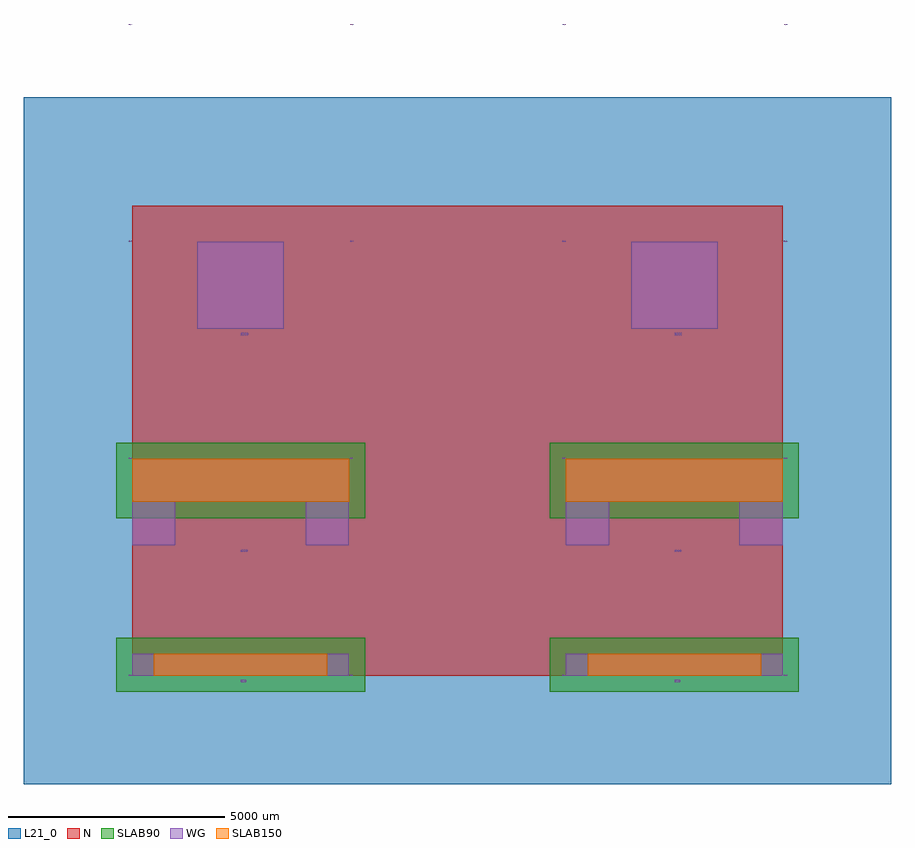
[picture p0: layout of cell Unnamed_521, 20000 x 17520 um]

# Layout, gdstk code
import gdstk
lib = gdstk.Library(unit=1e-6, precision=1e-09)
def R(c, l, rs):  # rectangles x0, y0, x1, y1
    for r in rs: c.add(gdstk.rectangle(r[:2], r[2:], *l))
def A(c, l, x, y, w, h, nx, ny, dx, dy):  # array of equal rectangles
    R(c, l, [(x+i*dx, y+j*dy, x+i*dx+w, y+j*dy+h) for i in range(nx) for j in range(ny)])
def P(c, l, *ps):  # polygons
    for p in ps: c.add(gdstk.Polygon(p, *l))
WG = (1, 0)
SLAB150 = (2, 0)
SLAB90 = (3, 0)
N = (20, 0)
L21_0 = (21, 0)

unnamed_551 = lib.new_cell('Unnamed_551')
P(unnamed_551, WG, [(2505,2852),(2505,2862),(2510,2862),(2510,2882),(2505,2882),(2505,2892),(2515,2902),(2520,2902),(2520,2862),(2525,2862),(2525,2852)],
  [(2505,2852),(2505,2862),(2510,2862),(2510,2882),(2505,2882),(2505,2892),(2515,2902),(2520,2902),(2520,2862),(2525,2862),(2525,2852)],
  [(12505,2852),(12505,2862),(12510,2862),(12510,2882),(12505,2882),(12505,2892),(12515,2902),(12520,2902),(12520,2862),(12525,2862),(12525,2852)],
  [(12505,2852),(12505,2862),(12510,2862),(12510,2882),(12505,2882),(12505,2892),(12515,2902),(12520,2902),(12520,2862),(12525,2862),(12525,2852)],
  [(2505,7850),(2505,7860),(2530,7885),(2530,7890),(2515,7890),(2515,7885),(2505,7885),(2505,7895),(2510,7900),(2535,7900),(2540,7895),(2540,7880),(2520,7860),(2540,7860),(2540,7850)],
  [(12505,7850),(12505,7860),(12530,7885),(12530,7890),(12515,7890),(12515,7885),(12505,7885),(12505,7895),(12510,7900),(12535,7900),(12540,7895),(12540,7880),(12520,7860),(12540,7860),(12540,7850)],
  [(2563.5,-150),(2566,-140),(2570,-140),(2575,-135),(2575,-115),(2570,-110),(2572.5,-100),(2575,-100),(2585,-110),(2585,-140),(2575,-150)],
  [(2608.5,-150),(2611,-140),(2615,-140),(2620,-135),(2620,-115),(2615,-110),(2617.5,-100),(2620,-100),(2630,-110),(2630,-140),(2620,-150)],
  [(2563.5,-150),(2566,-140),(2570,-140),(2575,-135),(2575,-115),(2570,-110),(2572.5,-100),(2575,-100),(2585,-110),(2585,-140),(2575,-150)],
  [(2608.5,-150),(2611,-140),(2615,-140),(2620,-135),(2620,-115),(2615,-110),(2617.5,-100),(2620,-100),(2630,-110),(2630,-140),(2620,-150)],
  [(12563.5,-150),(12566,-140),(12570,-140),(12575,-135),(12575,-115),(12570,-110),(12572.5,-100),(12575,-100),(12585,-110),(12585,-140),(12575,-150)],
  [(12608.5,-150),(12611,-140),(12615,-140),(12620,-135),(12620,-115),(12615,-110),(12617.5,-100),(12620,-100),(12630,-110),(12630,-140),(12620,-150)],
  [(12563.5,-150),(12566,-140),(12570,-140),(12575,-135),(12575,-115),(12570,-110),(12572.5,-100),(12575,-100),(12585,-110),(12585,-140),(12575,-150)],
  [(12608.5,-150),(12611,-140),(12615,-140),(12620,-135),(12620,-115),(12615,-110),(12617.5,-100),(12620,-100),(12630,-110),(12630,-140),(12620,-150)],
  [(2548.5,2852),(2551,2862),(2555,2862),(2560,2867),(2560,2887),(2555,2892),(2557.5,2902),(2560,2902),(2570,2892),(2570,2862),(2560,2852)],
  [(2593.5,2852),(2596,2862),(2600,2862),(2605,2867),(2605,2887),(2600,2892),(2602.5,2902),(2605,2902),(2615,2892),(2615,2862),(2605,2852)],
  [(2638.5,2852),(2641,2862),(2645,2862),(2650,2867),(2650,2887),(2645,2892),(2647.5,2902),(2650,2902),(2660,2892),(2660,2862),(2650,2852)],
  [(2548.5,2852),(2551,2862),(2555,2862),(2560,2867),(2560,2887),(2555,2892),(2557.5,2902),(2560,2902),(2570,2892),(2570,2862),(2560,2852)],
  [(2593.5,2852),(2596,2862),(2600,2862),(2605,2867),(2605,2887),(2600,2892),(2602.5,2902),(2605,2902),(2615,2892),(2615,2862),(2605,2852)],
  [(2638.5,2852),(2641,2862),(2645,2862),(2650,2867),(2650,2887),(2645,2892),(2647.5,2902),(2650,2902),(2660,2892),(2660,2862),(2650,2852)],
  [(12548.5,2852),(12551,2862),(12555,2862),(12560,2867),(12560,2887),(12555,2892),(12557.5,2902),(12560,2902),(12570,2892),(12570,2862),(12560,2852)],
  [(12593.5,2852),(12596,2862),(12600,2862),(12605,2867),(12605,2887),(12600,2892),(12602.5,2902),(12605,2902),(12615,2892),(12615,2862),(12605,2852)],
  [(12638.5,2852),(12641,2862),(12645,2862),(12650,2867),(12650,2887),(12645,2892),(12647.5,2902),(12650,2902),(12660,2892),(12660,2862),(12650,2852)],
  [(12548.5,2852),(12551,2862),(12555,2862),(12560,2867),(12560,2887),(12555,2892),(12557.5,2902),(12560,2902),(12570,2892),(12570,2862),(12560,2852)],
  [(12593.5,2852),(12596,2862),(12600,2862),(12605,2867),(12605,2887),(12600,2892),(12602.5,2902),(12605,2902),(12615,2892),(12615,2862),(12605,2852)],
  [(12638.5,2852),(12641,2862),(12645,2862),(12650,2867),(12650,2887),(12645,2892),(12647.5,2902),(12650,2902),(12660,2892),(12660,2862),(12650,2852)],
  [(2563.5,7850),(2566,7860),(2570,7860),(2575,7865),(2575,7885),(2570,7890),(2572.5,7900),(2575,7900),(2585,7890),(2585,7860),(2575,7850)],
  [(2608.5,7850),(2611,7860),(2615,7860),(2620,7865),(2620,7885),(2615,7890),(2617.5,7900),(2620,7900),(2630,7890),(2630,7860),(2620,7850)],
  [(2653.5,7850),(2656,7860),(2660,7860),(2665,7865),(2665,7885),(2660,7890),(2662.5,7900),(2665,7900),(2675,7890),(2675,7860),(2665,7850)],
  [(12563.5,7850),(12566,7860),(12570,7860),(12575,7865),(12575,7885),(12570,7890),(12572.5,7900),(12575,7900),(12585,7890),(12585,7860),(12575,7850)],
  [(12608.5,7850),(12611,7860),(12615,7860),(12620,7865),(12620,7885),(12615,7890),(12617.5,7900),(12620,7900),(12630,7890),(12630,7860),(12620,7850)],
  [(12653.5,7850),(12656,7860),(12660,7860),(12665,7865),(12665,7885),(12660,7890),(12662.5,7900),(12665,7900),(12675,7890),(12675,7860),(12665,7850)],
  [(2555,-150),(2545,-140),(2545,-110),(2555,-100),(2566.5,-100),(2564,-110),(2560,-110),(2555,-115),(2555,-135),(2560,-140),(2557.5,-150)],
  [(2600,-150),(2590,-140),(2590,-110),(2600,-100),(2611.5,-100),(2609,-110),(2605,-110),(2600,-115),(2600,-135),(2605,-140),(2602.5,-150)],
  [(2555,-150),(2545,-140),(2545,-110),(2555,-100),(2566.5,-100),(2564,-110),(2560,-110),(2555,-115),(2555,-135),(2560,-140),(2557.5,-150)],
  [(2600,-150),(2590,-140),(2590,-110),(2600,-100),(2611.5,-100),(2609,-110),(2605,-110),(2600,-115),(2600,-135),(2605,-140),(2602.5,-150)],
  [(12555,-150),(12545,-140),(12545,-110),(12555,-100),(12566.5,-100),(12564,-110),(12560,-110),(12555,-115),(12555,-135),(12560,-140),(12557.5,-150)],
  [(12600,-150),(12590,-140),(12590,-110),(12600,-100),(12611.5,-100),(12609,-110),(12605,-110),(12600,-115),(12600,-135),(12605,-140),(12602.5,-150)],
  [(12555,-150),(12545,-140),(12545,-110),(12555,-100),(12566.5,-100),(12564,-110),(12560,-110),(12555,-115),(12555,-135),(12560,-140),(12557.5,-150)],
  [(12600,-150),(12590,-140),(12590,-110),(12600,-100),(12611.5,-100),(12609,-110),(12605,-110),(12600,-115),(12600,-135),(12605,-140),(12602.5,-150)],
  [(2540,2852),(2530,2862),(2530,2892),(2540,2902),(2551.5,2902),(2549,2892),(2545,2892),(2540,2887),(2540,2867),(2545,2862),(2542.5,2852)],
  [(2585,2852),(2575,2862),(2575,2892),(2585,2902),(2596.5,2902),(2594,2892),(2590,2892),(2585,2887),(2585,2867),(2590,2862),(2587.5,2852)],
  [(2630,2852),(2620,2862),(2620,2892),(2630,2902),(2641.5,2902),(2639,2892),(2635,2892),(2630,2887),(2630,2867),(2635,2862),(2632.5,2852)],
  [(2540,2852),(2530,2862),(2530,2892),(2540,2902),(2551.5,2902),(2549,2892),(2545,2892),(2540,2887),(2540,2867),(2545,2862),(2542.5,2852)],
  [(2585,2852),(2575,2862),(2575,2892),(2585,2902),(2596.5,2902),(2594,2892),(2590,2892),(2585,2887),(2585,2867),(2590,2862),(2587.5,2852)],
  [(2630,2852),(2620,2862),(2620,2892),(2630,2902),(2641.5,2902),(2639,2892),(2635,2892),(2630,2887),(2630,2867),(2635,2862),(2632.5,2852)],
  [(12540,2852),(12530,2862),(12530,2892),(12540,2902),(12551.5,2902),(12549,2892),(12545,2892),(12540,2887),(12540,2867),(12545,2862),(12542.5,2852)],
  [(12585,2852),(12575,2862),(12575,2892),(12585,2902),(12596.5,2902),(12594,2892),(12590,2892),(12585,2887),(12585,2867),(12590,2862),(12587.5,2852)],
  [(12630,2852),(12620,2862),(12620,2892),(12630,2902),(12641.5,2902),(12639,2892),(12635,2892),(12630,2887),(12630,2867),(12635,2862),(12632.5,2852)],
  [(12540,2852),(12530,2862),(12530,2892),(12540,2902),(12551.5,2902),(12549,2892),(12545,2892),(12540,2887),(12540,2867),(12545,2862),(12542.5,2852)],
  [(12585,2852),(12575,2862),(12575,2892),(12585,2902),(12596.5,2902),(12594,2892),(12590,2892),(12585,2887),(12585,2867),(12590,2862),(12587.5,2852)],
  [(12630,2852),(12620,2862),(12620,2892),(12630,2902),(12641.5,2902),(12639,2892),(12635,2892),(12630,2887),(12630,2867),(12635,2862),(12632.5,2852)],
  [(2555,7850),(2545,7860),(2545,7890),(2555,7900),(2566.5,7900),(2564,7890),(2560,7890),(2555,7885),(2555,7865),(2560,7860),(2557.5,7850)],
  [(2600,7850),(2590,7860),(2590,7890),(2600,7900),(2611.5,7900),(2609,7890),(2605,7890),(2600,7885),(2600,7865),(2605,7860),(2602.5,7850)],
  [(2645,7850),(2635,7860),(2635,7890),(2645,7900),(2656.5,7900),(2654,7890),(2650,7890),(2645,7885),(2645,7865),(2650,7860),(2647.5,7850)],
  [(12555,7850),(12545,7860),(12545,7890),(12555,7900),(12566.5,7900),(12564,7890),(12560,7890),(12555,7885),(12555,7865),(12560,7860),(12557.5,7850)],
  [(12600,7850),(12590,7860),(12590,7890),(12600,7900),(12611.5,7900),(12609,7890),(12605,7890),(12600,7885),(12600,7865),(12605,7860),(12602.5,7850)],
  [(12645,7850),(12635,7860),(12635,7890),(12645,7900),(12656.5,7900),(12654,7890),(12650,7890),(12645,7885),(12645,7865),(12650,7860),(12647.5,7850)],
  [(2510,-150),(2505,-145),(2505,-135),(2515,-135),(2515,-140),(2530,-140),(2530,-130),(2510,-130),(2505,-125),(2505,-100),(2540,-100),(2540,-110),(2515,-110),(2515,-120),(2535,-120),(2540,-125),(2540,-145),(2535,-150)],
  [(2510,-150),(2505,-145),(2505,-135),(2515,-135),(2515,-140),(2530,-140),(2530,-130),(2510,-130),(2505,-125),(2505,-100),(2540,-100),(2540,-110),(2515,-110),(2515,-120),(2535,-120),(2540,-125),(2540,-145),(2535,-150)],
  [(12510,-150),(12505,-145),(12505,-135),(12515,-135),(12515,-140),(12530,-140),(12530,-130),(12510,-130),(12505,-125),(12505,-100),(12540,-100),(12540,-110),(12515,-110),(12515,-120),(12535,-120),(12540,-125),(12540,-145),(12535,-150)],
  [(12510,-150),(12505,-145),(12505,-135),(12515,-135),(12515,-140),(12530,-140),(12530,-130),(12510,-130),(12505,-125),(12505,-100),(12540,-100),(12540,-110),(12515,-110),(12515,-120),(12535,-120),(12540,-125),(12540,-145),(12535,-150)])

unnamed_549 = lib.new_cell('Unnamed_549')
R(unnamed_549, SLAB150, [(500,0,4498,498), (10500,0,14498,498), (0,4002,5000,5000), (10000,4002,15000,5000)])

unnamed_547 = lib.new_cell('Unnamed_547')
P(unnamed_547, WG, [(2505,2852),(2505,2862),(2510,2862),(2510,2882),(2505,2882),(2505,2892),(2515,2902),(2520,2902),(2520,2862),(2525,2862),(2525,2852)],
  [(2505,2852),(2505,2862),(2510,2862),(2510,2882),(2505,2882),(2505,2892),(2515,2902),(2520,2902),(2520,2862),(2525,2862),(2525,2852)],
  [(12505,2852),(12505,2862),(12510,2862),(12510,2882),(12505,2882),(12505,2892),(12515,2902),(12520,2902),(12520,2862),(12525,2862),(12525,2852)],
  [(12505,2852),(12505,2862),(12510,2862),(12510,2882),(12505,2882),(12505,2892),(12515,2902),(12520,2902),(12520,2862),(12525,2862),(12525,2852)],
  [(2505,7850),(2505,7860),(2530,7885),(2530,7890),(2515,7890),(2515,7885),(2505,7885),(2505,7895),(2510,7900),(2535,7900),(2540,7895),(2540,7880),(2520,7860),(2540,7860),(2540,7850)],
  [(12505,7850),(12505,7860),(12530,7885),(12530,7890),(12515,7890),(12515,7885),(12505,7885),(12505,7895),(12510,7900),(12535,7900),(12540,7895),(12540,7880),(12520,7860),(12540,7860),(12540,7850)],
  [(2563.5,-150),(2566,-140),(2570,-140),(2575,-135),(2575,-115),(2570,-110),(2572.5,-100),(2575,-100),(2585,-110),(2585,-140),(2575,-150)],
  [(2608.5,-150),(2611,-140),(2615,-140),(2620,-135),(2620,-115),(2615,-110),(2617.5,-100),(2620,-100),(2630,-110),(2630,-140),(2620,-150)],
  [(2563.5,-150),(2566,-140),(2570,-140),(2575,-135),(2575,-115),(2570,-110),(2572.5,-100),(2575,-100),(2585,-110),(2585,-140),(2575,-150)],
  [(2608.5,-150),(2611,-140),(2615,-140),(2620,-135),(2620,-115),(2615,-110),(2617.5,-100),(2620,-100),(2630,-110),(2630,-140),(2620,-150)],
  [(12563.5,-150),(12566,-140),(12570,-140),(12575,-135),(12575,-115),(12570,-110),(12572.5,-100),(12575,-100),(12585,-110),(12585,-140),(12575,-150)],
  [(12608.5,-150),(12611,-140),(12615,-140),(12620,-135),(12620,-115),(12615,-110),(12617.5,-100),(12620,-100),(12630,-110),(12630,-140),(12620,-150)],
  [(12563.5,-150),(12566,-140),(12570,-140),(12575,-135),(12575,-115),(12570,-110),(12572.5,-100),(12575,-100),(12585,-110),(12585,-140),(12575,-150)],
  [(12608.5,-150),(12611,-140),(12615,-140),(12620,-135),(12620,-115),(12615,-110),(12617.5,-100),(12620,-100),(12630,-110),(12630,-140),(12620,-150)],
  [(2548.5,2852),(2551,2862),(2555,2862),(2560,2867),(2560,2887),(2555,2892),(2557.5,2902),(2560,2902),(2570,2892),(2570,2862),(2560,2852)],
  [(2593.5,2852),(2596,2862),(2600,2862),(2605,2867),(2605,2887),(2600,2892),(2602.5,2902),(2605,2902),(2615,2892),(2615,2862),(2605,2852)],
  [(2638.5,2852),(2641,2862),(2645,2862),(2650,2867),(2650,2887),(2645,2892),(2647.5,2902),(2650,2902),(2660,2892),(2660,2862),(2650,2852)],
  [(2548.5,2852),(2551,2862),(2555,2862),(2560,2867),(2560,2887),(2555,2892),(2557.5,2902),(2560,2902),(2570,2892),(2570,2862),(2560,2852)],
  [(2593.5,2852),(2596,2862),(2600,2862),(2605,2867),(2605,2887),(2600,2892),(2602.5,2902),(2605,2902),(2615,2892),(2615,2862),(2605,2852)],
  [(2638.5,2852),(2641,2862),(2645,2862),(2650,2867),(2650,2887),(2645,2892),(2647.5,2902),(2650,2902),(2660,2892),(2660,2862),(2650,2852)],
  [(12548.5,2852),(12551,2862),(12555,2862),(12560,2867),(12560,2887),(12555,2892),(12557.5,2902),(12560,2902),(12570,2892),(12570,2862),(12560,2852)],
  [(12593.5,2852),(12596,2862),(12600,2862),(12605,2867),(12605,2887),(12600,2892),(12602.5,2902),(12605,2902),(12615,2892),(12615,2862),(12605,2852)],
  [(12638.5,2852),(12641,2862),(12645,2862),(12650,2867),(12650,2887),(12645,2892),(12647.5,2902),(12650,2902),(12660,2892),(12660,2862),(12650,2852)],
  [(12548.5,2852),(12551,2862),(12555,2862),(12560,2867),(12560,2887),(12555,2892),(12557.5,2902),(12560,2902),(12570,2892),(12570,2862),(12560,2852)],
  [(12593.5,2852),(12596,2862),(12600,2862),(12605,2867),(12605,2887),(12600,2892),(12602.5,2902),(12605,2902),(12615,2892),(12615,2862),(12605,2852)],
  [(12638.5,2852),(12641,2862),(12645,2862),(12650,2867),(12650,2887),(12645,2892),(12647.5,2902),(12650,2902),(12660,2892),(12660,2862),(12650,2852)],
  [(2563.5,7850),(2566,7860),(2570,7860),(2575,7865),(2575,7885),(2570,7890),(2572.5,7900),(2575,7900),(2585,7890),(2585,7860),(2575,7850)],
  [(2608.5,7850),(2611,7860),(2615,7860),(2620,7865),(2620,7885),(2615,7890),(2617.5,7900),(2620,7900),(2630,7890),(2630,7860),(2620,7850)],
  [(2653.5,7850),(2656,7860),(2660,7860),(2665,7865),(2665,7885),(2660,7890),(2662.5,7900),(2665,7900),(2675,7890),(2675,7860),(2665,7850)],
  [(12563.5,7850),(12566,7860),(12570,7860),(12575,7865),(12575,7885),(12570,7890),(12572.5,7900),(12575,7900),(12585,7890),(12585,7860),(12575,7850)],
  [(12608.5,7850),(12611,7860),(12615,7860),(12620,7865),(12620,7885),(12615,7890),(12617.5,7900),(12620,7900),(12630,7890),(12630,7860),(12620,7850)],
  [(12653.5,7850),(12656,7860),(12660,7860),(12665,7865),(12665,7885),(12660,7890),(12662.5,7900),(12665,7900),(12675,7890),(12675,7860),(12665,7850)],
  [(2555,-150),(2545,-140),(2545,-110),(2555,-100),(2566.5,-100),(2564,-110),(2560,-110),(2555,-115),(2555,-135),(2560,-140),(2557.5,-150)],
  [(2600,-150),(2590,-140),(2590,-110),(2600,-100),(2611.5,-100),(2609,-110),(2605,-110),(2600,-115),(2600,-135),(2605,-140),(2602.5,-150)],
  [(2555,-150),(2545,-140),(2545,-110),(2555,-100),(2566.5,-100),(2564,-110),(2560,-110),(2555,-115),(2555,-135),(2560,-140),(2557.5,-150)],
  [(2600,-150),(2590,-140),(2590,-110),(2600,-100),(2611.5,-100),(2609,-110),(2605,-110),(2600,-115),(2600,-135),(2605,-140),(2602.5,-150)],
  [(12555,-150),(12545,-140),(12545,-110),(12555,-100),(12566.5,-100),(12564,-110),(12560,-110),(12555,-115),(12555,-135),(12560,-140),(12557.5,-150)],
  [(12600,-150),(12590,-140),(12590,-110),(12600,-100),(12611.5,-100),(12609,-110),(12605,-110),(12600,-115),(12600,-135),(12605,-140),(12602.5,-150)],
  [(12555,-150),(12545,-140),(12545,-110),(12555,-100),(12566.5,-100),(12564,-110),(12560,-110),(12555,-115),(12555,-135),(12560,-140),(12557.5,-150)],
  [(12600,-150),(12590,-140),(12590,-110),(12600,-100),(12611.5,-100),(12609,-110),(12605,-110),(12600,-115),(12600,-135),(12605,-140),(12602.5,-150)],
  [(2540,2852),(2530,2862),(2530,2892),(2540,2902),(2551.5,2902),(2549,2892),(2545,2892),(2540,2887),(2540,2867),(2545,2862),(2542.5,2852)],
  [(2585,2852),(2575,2862),(2575,2892),(2585,2902),(2596.5,2902),(2594,2892),(2590,2892),(2585,2887),(2585,2867),(2590,2862),(2587.5,2852)],
  [(2630,2852),(2620,2862),(2620,2892),(2630,2902),(2641.5,2902),(2639,2892),(2635,2892),(2630,2887),(2630,2867),(2635,2862),(2632.5,2852)],
  [(2540,2852),(2530,2862),(2530,2892),(2540,2902),(2551.5,2902),(2549,2892),(2545,2892),(2540,2887),(2540,2867),(2545,2862),(2542.5,2852)],
  [(2585,2852),(2575,2862),(2575,2892),(2585,2902),(2596.5,2902),(2594,2892),(2590,2892),(2585,2887),(2585,2867),(2590,2862),(2587.5,2852)],
  [(2630,2852),(2620,2862),(2620,2892),(2630,2902),(2641.5,2902),(2639,2892),(2635,2892),(2630,2887),(2630,2867),(2635,2862),(2632.5,2852)],
  [(12540,2852),(12530,2862),(12530,2892),(12540,2902),(12551.5,2902),(12549,2892),(12545,2892),(12540,2887),(12540,2867),(12545,2862),(12542.5,2852)],
  [(12585,2852),(12575,2862),(12575,2892),(12585,2902),(12596.5,2902),(12594,2892),(12590,2892),(12585,2887),(12585,2867),(12590,2862),(12587.5,2852)],
  [(12630,2852),(12620,2862),(12620,2892),(12630,2902),(12641.5,2902),(12639,2892),(12635,2892),(12630,2887),(12630,2867),(12635,2862),(12632.5,2852)],
  [(12540,2852),(12530,2862),(12530,2892),(12540,2902),(12551.5,2902),(12549,2892),(12545,2892),(12540,2887),(12540,2867),(12545,2862),(12542.5,2852)],
  [(12585,2852),(12575,2862),(12575,2892),(12585,2902),(12596.5,2902),(12594,2892),(12590,2892),(12585,2887),(12585,2867),(12590,2862),(12587.5,2852)],
  [(12630,2852),(12620,2862),(12620,2892),(12630,2902),(12641.5,2902),(12639,2892),(12635,2892),(12630,2887),(12630,2867),(12635,2862),(12632.5,2852)],
  [(2555,7850),(2545,7860),(2545,7890),(2555,7900),(2566.5,7900),(2564,7890),(2560,7890),(2555,7885),(2555,7865),(2560,7860),(2557.5,7850)],
  [(2600,7850),(2590,7860),(2590,7890),(2600,7900),(2611.5,7900),(2609,7890),(2605,7890),(2600,7885),(2600,7865),(2605,7860),(2602.5,7850)],
  [(2645,7850),(2635,7860),(2635,7890),(2645,7900),(2656.5,7900),(2654,7890),(2650,7890),(2645,7885),(2645,7865),(2650,7860),(2647.5,7850)],
  [(12555,7850),(12545,7860),(12545,7890),(12555,7900),(12566.5,7900),(12564,7890),(12560,7890),(12555,7885),(12555,7865),(12560,7860),(12557.5,7850)],
  [(12600,7850),(12590,7860),(12590,7890),(12600,7900),(12611.5,7900),(12609,7890),(12605,7890),(12600,7885),(12600,7865),(12605,7860),(12602.5,7850)],
  [(12645,7850),(12635,7860),(12635,7890),(12645,7900),(12656.5,7900),(12654,7890),(12650,7890),(12645,7885),(12645,7865),(12650,7860),(12647.5,7850)],
  [(2510,-150),(2505,-145),(2505,-135),(2515,-135),(2515,-140),(2530,-140),(2530,-130),(2510,-130),(2505,-125),(2505,-100),(2540,-100),(2540,-110),(2515,-110),(2515,-120),(2535,-120),(2540,-125),(2540,-145),(2535,-150)],
  [(2510,-150),(2505,-145),(2505,-135),(2515,-135),(2515,-140),(2530,-140),(2530,-130),(2510,-130),(2505,-125),(2505,-100),(2540,-100),(2540,-110),(2515,-110),(2515,-120),(2535,-120),(2540,-125),(2540,-145),(2535,-150)],
  [(12510,-150),(12505,-145),(12505,-135),(12515,-135),(12515,-140),(12530,-140),(12530,-130),(12510,-130),(12505,-125),(12505,-100),(12540,-100),(12540,-110),(12515,-110),(12515,-120),(12535,-120),(12540,-125),(12540,-145),(12535,-150)],
  [(12510,-150),(12505,-145),(12505,-135),(12515,-135),(12515,-140),(12530,-140),(12530,-130),(12510,-130),(12505,-125),(12505,-100),(12540,-100),(12540,-110),(12515,-110),(12515,-120),(12535,-120),(12540,-125),(12540,-145),(12535,-150)])

rectangle_s5743p44_1741_ = lib.new_cell('rectangle_S5743p44_1741_03ee2668')
R(rectangle_s5743p44_1741_, SLAB90, [(0,0,5743.44,1741.44)])

rectangle_s5743p44_1241_ = lib.new_cell('rectangle_S5743p44_1241_c6762c0d')
R(rectangle_s5743p44_1241_, SLAB90, [(0,0,5743.44,1241.44)])

unnamed_544 = lib.new_cell('Unnamed_544')
unnamed_544.add(gdstk.Reference(rectangle_s5743p44_1741_, (0,4002)))
unnamed_544.add(gdstk.Reference(rectangle_s5743p44_1241_, (0,0)))

unnamed_543 = lib.new_cell('Unnamed_543')
unnamed_543.add(gdstk.Reference(rectangle_s5743p44_1741_, (0,4002)))
unnamed_543.add(gdstk.Reference(rectangle_s5743p44_1241_, (0,0)))

unnamed_542 = lib.new_cell('Unnamed_542')
unnamed_542.add(gdstk.Reference(unnamed_544, (9628.28,-371.72)))
unnamed_542.add(gdstk.Reference(unnamed_543, (-371.72,-371.72)))

rectangle_s20000_15830__ = lib.new_cell('rectangle_S20000_15830__41eada1f')
R(rectangle_s20000_15830__, L21_0, [(0,0,20000,15830)])

unnamed_539 = lib.new_cell('Unnamed_539')
A(unnamed_539, WG, 0, 0, 48, 48, 10, 10, 50, 50)
A(unnamed_539, WG, 4500, 0, 48, 48, 10, 10, 50, 50)
A(unnamed_539, WG, 10000, 0, 48, 48, 10, 10, 50, 50)
A(unnamed_539, WG, 14500, 0, 48, 48, 10, 10, 50, 50)
A(unnamed_539, WG, 0, 3002, 48, 48, 20, 20, 50, 50)
A(unnamed_539, WG, 4000, 3002, 48, 48, 20, 20, 50, 50)
A(unnamed_539, WG, 10000, 3002, 48, 48, 20, 20, 50, 50)
A(unnamed_539, WG, 14000, 3002, 48, 48, 20, 20, 50, 50)
A(unnamed_539, WG, 1500, 8000, 48, 48, 40, 40, 50, 50)
A(unnamed_539, WG, 11500, 8000, 48, 48, 40, 40, 50, 50)

unnamed_545 = lib.new_cell('Unnamed_545')
R(unnamed_545, SLAB150, [(500,0,4498,498), (10500,0,14498,498), (0,4002,5000,5000), (10000,4002,15000,5000)])

unnamed_546 = lib.new_cell('Unnamed_546')
A(unnamed_546, WG, 0, 0, 48, 48, 10, 10, 50, 50)
A(unnamed_546, WG, 4500, 0, 48, 48, 10, 10, 50, 50)
A(unnamed_546, WG, 10000, 0, 48, 48, 10, 10, 50, 50)
A(unnamed_546, WG, 14500, 0, 48, 48, 10, 10, 50, 50)
A(unnamed_546, WG, 0, 3002, 48, 48, 20, 20, 50, 50)
A(unnamed_546, WG, 4000, 3002, 48, 48, 20, 20, 50, 50)
A(unnamed_546, WG, 10000, 3002, 48, 48, 20, 20, 50, 50)
A(unnamed_546, WG, 14000, 3002, 48, 48, 20, 20, 50, 50)
A(unnamed_546, WG, 1500, 8000, 48, 48, 40, 40, 50, 50)
A(unnamed_546, WG, 11500, 8000, 48, 48, 40, 40, 50, 50)

text_tdml_4_s20_p0_0_jle = lib.new_cell('text_TDML_4_S20_P0_0_Jleft_L1_0')
P(text_tdml_4_s20_p0_0_jle, WG, [(36,0),(36,20),(40,20),(40,4),(50,4),(50,0)],
  [(70,0),(70,6),(62,6),(62,20),(66,20),(66,10),(70,10),(70,20),(74,20),(74,10),(76,10),(76,6),(74,6),(74,0)],
  [(18,0),(18,20),(22,20),(26,14),(30,20),(34,20),(34,0),(30,0),(30,12),(26,6),(22,12),(22,0)],
  [(2,0),(2,8),(6,8),(6,4),(10,4),(12,6),(12,14),(10,16),(6,16),(6,12),(2,12),(2,20),(12,20),(16,16),(16,4),(12,0)])

unnamed_536 = lib.new_cell('Unnamed_536')
unnamed_536.add(gdstk.Reference(text_tdml_4_s20_p0_0_jle, (-85,0)))
unnamed_536.add(gdstk.Reference(text_tdml_4_s20_p0_0_jle, (5020,0)))
unnamed_536.add(gdstk.Reference(text_tdml_4_s20_p0_0_jle, (-85,5000)))
unnamed_536.add(gdstk.Reference(text_tdml_4_s20_p0_0_jle, (5020,5000)))

text_tdml_3_s20_p0_0_jle = lib.new_cell('text_TDML_3_S20_P0_0_Jleft_L1_0')
P(text_tdml_3_s20_p0_0_jle, WG, [(36,0),(36,20),(40,20),(40,4),(50,4),(50,0)],
  [(66,0),(62,4),(62,6),(66,6),(68,4),(70,4),(72,6),(70,8),(70,12),(72,14),(70,16),(68,16),(66,14),(62,14),(62,16),(66,20),(72,20),(76,16),(76,12),(74,10),(76,8),(76,4),(72,0)],
  [(18,0),(18,20),(22,20),(26,14),(30,20),(34,20),(34,0),(30,0),(30,12),(26,6),(22,12),(22,0)],
  [(2,0),(2,8),(6,8),(6,4),(10,4),(12,6),(12,14),(10,16),(6,16),(6,12),(2,12),(2,20),(12,20),(16,16),(16,4),(12,0)])

unnamed_535 = lib.new_cell('Unnamed_535')
unnamed_535.add(gdstk.Reference(text_tdml_3_s20_p0_0_jle, (-85,0)))
unnamed_535.add(gdstk.Reference(text_tdml_3_s20_p0_0_jle, (5020,0)))
unnamed_535.add(gdstk.Reference(text_tdml_3_s20_p0_0_jle, (-85,5000)))
unnamed_535.add(gdstk.Reference(text_tdml_3_s20_p0_0_jle, (5020,5000)))

text_tdml_2_s20_p0_0_jle = lib.new_cell('text_TDML_2_S20_P0_0_Jleft_L1_0')
P(text_tdml_2_s20_p0_0_jle, WG, [(36,0),(36,20),(40,20),(40,4),(50,4),(50,0)],
  [(18,0),(18,20),(22,20),(26,14),(30,20),(34,20),(34,0),(30,0),(30,12),(26,6),(22,12),(22,0)],
  [(62,0),(62,4),(72,14),(72,16),(66,16),(66,14),(62,14),(62,18),(64,20),(74,20),(76,18),(76,12),(68,4),(76,4),(76,0)],
  [(2,0),(2,8),(6,8),(6,4),(10,4),(12,6),(12,14),(10,16),(6,16),(6,12),(2,12),(2,20),(12,20),(16,16),(16,4),(12,0)])

unnamed_534 = lib.new_cell('Unnamed_534')
unnamed_534.add(gdstk.Reference(text_tdml_2_s20_p0_0_jle, (-85,0)))
unnamed_534.add(gdstk.Reference(text_tdml_2_s20_p0_0_jle, (5020,0)))
unnamed_534.add(gdstk.Reference(text_tdml_2_s20_p0_0_jle, (-85,5000)))
unnamed_534.add(gdstk.Reference(text_tdml_2_s20_p0_0_jle, (5020,5000)))

text_tdml_1_s20_p0_0_jle = lib.new_cell('text_TDML_1_S20_P0_0_Jleft_L1_0')
P(text_tdml_1_s20_p0_0_jle, WG, [(62,0),(62,4),(64,4),(64,12),(62,12),(62,16),(66,20),(68,20),(68,4),(70,4),(70,0)],
  [(36,0),(36,20),(40,20),(40,4),(50,4),(50,0)],
  [(18,0),(18,20),(22,20),(26,14),(30,20),(34,20),(34,0),(30,0),(30,12),(26,6),(22,12),(22,0)],
  [(2,0),(2,8),(6,8),(6,4),(10,4),(12,6),(12,14),(10,16),(6,16),(6,12),(2,12),(2,20),(12,20),(16,16),(16,4),(12,0)])

unnamed_533 = lib.new_cell('Unnamed_533')
unnamed_533.add(gdstk.Reference(text_tdml_1_s20_p0_0_jle, (-85,0)))
unnamed_533.add(gdstk.Reference(text_tdml_1_s20_p0_0_jle, (5020,0)))
unnamed_533.add(gdstk.Reference(text_tdml_1_s20_p0_0_jle, (-85,5000)))
unnamed_533.add(gdstk.Reference(text_tdml_1_s20_p0_0_jle, (5020,5000)))

unnamed_532 = lib.new_cell('Unnamed_532')
unnamed_532.add(gdstk.Reference(unnamed_536, (10000,10000)))
unnamed_532.add(gdstk.Reference(unnamed_535, (0,10000)))
unnamed_532.add(gdstk.Reference(unnamed_534, (10000,0)))
unnamed_532.add(gdstk.Reference(unnamed_533, (0,0)))

unnamed_530 = lib.new_cell('Unnamed_530')
unnamed_530.add(gdstk.Reference(rectangle_s5743p44_1741_, (0,4002)))
unnamed_530.add(gdstk.Reference(rectangle_s5743p44_1241_, (0,0)))

unnamed_529 = lib.new_cell('Unnamed_529')
unnamed_529.add(gdstk.Reference(rectangle_s5743p44_1741_, (0,4002)))
unnamed_529.add(gdstk.Reference(rectangle_s5743p44_1241_, (0,0)))

unnamed_528 = lib.new_cell('Unnamed_528')
unnamed_528.add(gdstk.Reference(unnamed_530, (9628.28,-371.72)))
unnamed_528.add(gdstk.Reference(unnamed_529, (-371.72,-371.72)))

unnamed_540 = lib.new_cell('Unnamed_540')
P(unnamed_540, WG, [(2505,2852),(2505,2862),(2510,2862),(2510,2882),(2505,2882),(2505,2892),(2515,2902),(2520,2902),(2520,2862),(2525,2862),(2525,2852)],
  [(2505,2852),(2505,2862),(2510,2862),(2510,2882),(2505,2882),(2505,2892),(2515,2902),(2520,2902),(2520,2862),(2525,2862),(2525,2852)],
  [(12505,2852),(12505,2862),(12510,2862),(12510,2882),(12505,2882),(12505,2892),(12515,2902),(12520,2902),(12520,2862),(12525,2862),(12525,2852)],
  [(12505,2852),(12505,2862),(12510,2862),(12510,2882),(12505,2882),(12505,2892),(12515,2902),(12520,2902),(12520,2862),(12525,2862),(12525,2852)],
  [(2505,7850),(2505,7860),(2530,7885),(2530,7890),(2515,7890),(2515,7885),(2505,7885),(2505,7895),(2510,7900),(2535,7900),(2540,7895),(2540,7880),(2520,7860),(2540,7860),(2540,7850)],
  [(12505,7850),(12505,7860),(12530,7885),(12530,7890),(12515,7890),(12515,7885),(12505,7885),(12505,7895),(12510,7900),(12535,7900),(12540,7895),(12540,7880),(12520,7860),(12540,7860),(12540,7850)],
  [(2563.5,-150),(2566,-140),(2570,-140),(2575,-135),(2575,-115),(2570,-110),(2572.5,-100),(2575,-100),(2585,-110),(2585,-140),(2575,-150)],
  [(2608.5,-150),(2611,-140),(2615,-140),(2620,-135),(2620,-115),(2615,-110),(2617.5,-100),(2620,-100),(2630,-110),(2630,-140),(2620,-150)],
  [(2563.5,-150),(2566,-140),(2570,-140),(2575,-135),(2575,-115),(2570,-110),(2572.5,-100),(2575,-100),(2585,-110),(2585,-140),(2575,-150)],
  [(2608.5,-150),(2611,-140),(2615,-140),(2620,-135),(2620,-115),(2615,-110),(2617.5,-100),(2620,-100),(2630,-110),(2630,-140),(2620,-150)],
  [(12563.5,-150),(12566,-140),(12570,-140),(12575,-135),(12575,-115),(12570,-110),(12572.5,-100),(12575,-100),(12585,-110),(12585,-140),(12575,-150)],
  [(12608.5,-150),(12611,-140),(12615,-140),(12620,-135),(12620,-115),(12615,-110),(12617.5,-100),(12620,-100),(12630,-110),(12630,-140),(12620,-150)],
  [(12563.5,-150),(12566,-140),(12570,-140),(12575,-135),(12575,-115),(12570,-110),(12572.5,-100),(12575,-100),(12585,-110),(12585,-140),(12575,-150)],
  [(12608.5,-150),(12611,-140),(12615,-140),(12620,-135),(12620,-115),(12615,-110),(12617.5,-100),(12620,-100),(12630,-110),(12630,-140),(12620,-150)],
  [(2548.5,2852),(2551,2862),(2555,2862),(2560,2867),(2560,2887),(2555,2892),(2557.5,2902),(2560,2902),(2570,2892),(2570,2862),(2560,2852)],
  [(2593.5,2852),(2596,2862),(2600,2862),(2605,2867),(2605,2887),(2600,2892),(2602.5,2902),(2605,2902),(2615,2892),(2615,2862),(2605,2852)],
  [(2638.5,2852),(2641,2862),(2645,2862),(2650,2867),(2650,2887),(2645,2892),(2647.5,2902),(2650,2902),(2660,2892),(2660,2862),(2650,2852)],
  [(2548.5,2852),(2551,2862),(2555,2862),(2560,2867),(2560,2887),(2555,2892),(2557.5,2902),(2560,2902),(2570,2892),(2570,2862),(2560,2852)],
  [(2593.5,2852),(2596,2862),(2600,2862),(2605,2867),(2605,2887),(2600,2892),(2602.5,2902),(2605,2902),(2615,2892),(2615,2862),(2605,2852)],
  [(2638.5,2852),(2641,2862),(2645,2862),(2650,2867),(2650,2887),(2645,2892),(2647.5,2902),(2650,2902),(2660,2892),(2660,2862),(2650,2852)],
  [(12548.5,2852),(12551,2862),(12555,2862),(12560,2867),(12560,2887),(12555,2892),(12557.5,2902),(12560,2902),(12570,2892),(12570,2862),(12560,2852)],
  [(12593.5,2852),(12596,2862),(12600,2862),(12605,2867),(12605,2887),(12600,2892),(12602.5,2902),(12605,2902),(12615,2892),(12615,2862),(12605,2852)],
  [(12638.5,2852),(12641,2862),(12645,2862),(12650,2867),(12650,2887),(12645,2892),(12647.5,2902),(12650,2902),(12660,2892),(12660,2862),(12650,2852)],
  [(12548.5,2852),(12551,2862),(12555,2862),(12560,2867),(12560,2887),(12555,2892),(12557.5,2902),(12560,2902),(12570,2892),(12570,2862),(12560,2852)],
  [(12593.5,2852),(12596,2862),(12600,2862),(12605,2867),(12605,2887),(12600,2892),(12602.5,2902),(12605,2902),(12615,2892),(12615,2862),(12605,2852)],
  [(12638.5,2852),(12641,2862),(12645,2862),(12650,2867),(12650,2887),(12645,2892),(12647.5,2902),(12650,2902),(12660,2892),(12660,2862),(12650,2852)],
  [(2563.5,7850),(2566,7860),(2570,7860),(2575,7865),(2575,7885),(2570,7890),(2572.5,7900),(2575,7900),(2585,7890),(2585,7860),(2575,7850)],
  [(2608.5,7850),(2611,7860),(2615,7860),(2620,7865),(2620,7885),(2615,7890),(2617.5,7900),(2620,7900),(2630,7890),(2630,7860),(2620,7850)],
  [(2653.5,7850),(2656,7860),(2660,7860),(2665,7865),(2665,7885),(2660,7890),(2662.5,7900),(2665,7900),(2675,7890),(2675,7860),(2665,7850)],
  [(12563.5,7850),(12566,7860),(12570,7860),(12575,7865),(12575,7885),(12570,7890),(12572.5,7900),(12575,7900),(12585,7890),(12585,7860),(12575,7850)],
  [(12608.5,7850),(12611,7860),(12615,7860),(12620,7865),(12620,7885),(12615,7890),(12617.5,7900),(12620,7900),(12630,7890),(12630,7860),(12620,7850)],
  [(12653.5,7850),(12656,7860),(12660,7860),(12665,7865),(12665,7885),(12660,7890),(12662.5,7900),(12665,7900),(12675,7890),(12675,7860),(12665,7850)],
  [(2555,-150),(2545,-140),(2545,-110),(2555,-100),(2566.5,-100),(2564,-110),(2560,-110),(2555,-115),(2555,-135),(2560,-140),(2557.5,-150)],
  [(2600,-150),(2590,-140),(2590,-110),(2600,-100),(2611.5,-100),(2609,-110),(2605,-110),(2600,-115),(2600,-135),(2605,-140),(2602.5,-150)],
  [(2555,-150),(2545,-140),(2545,-110),(2555,-100),(2566.5,-100),(2564,-110),(2560,-110),(2555,-115),(2555,-135),(2560,-140),(2557.5,-150)],
  [(2600,-150),(2590,-140),(2590,-110),(2600,-100),(2611.5,-100),(2609,-110),(2605,-110),(2600,-115),(2600,-135),(2605,-140),(2602.5,-150)],
  [(12555,-150),(12545,-140),(12545,-110),(12555,-100),(12566.5,-100),(12564,-110),(12560,-110),(12555,-115),(12555,-135),(12560,-140),(12557.5,-150)],
  [(12600,-150),(12590,-140),(12590,-110),(12600,-100),(12611.5,-100),(12609,-110),(12605,-110),(12600,-115),(12600,-135),(12605,-140),(12602.5,-150)],
  [(12555,-150),(12545,-140),(12545,-110),(12555,-100),(12566.5,-100),(12564,-110),(12560,-110),(12555,-115),(12555,-135),(12560,-140),(12557.5,-150)],
  [(12600,-150),(12590,-140),(12590,-110),(12600,-100),(12611.5,-100),(12609,-110),(12605,-110),(12600,-115),(12600,-135),(12605,-140),(12602.5,-150)],
  [(2540,2852),(2530,2862),(2530,2892),(2540,2902),(2551.5,2902),(2549,2892),(2545,2892),(2540,2887),(2540,2867),(2545,2862),(2542.5,2852)],
  [(2585,2852),(2575,2862),(2575,2892),(2585,2902),(2596.5,2902),(2594,2892),(2590,2892),(2585,2887),(2585,2867),(2590,2862),(2587.5,2852)],
  [(2630,2852),(2620,2862),(2620,2892),(2630,2902),(2641.5,2902),(2639,2892),(2635,2892),(2630,2887),(2630,2867),(2635,2862),(2632.5,2852)],
  [(2540,2852),(2530,2862),(2530,2892),(2540,2902),(2551.5,2902),(2549,2892),(2545,2892),(2540,2887),(2540,2867),(2545,2862),(2542.5,2852)],
  [(2585,2852),(2575,2862),(2575,2892),(2585,2902),(2596.5,2902),(2594,2892),(2590,2892),(2585,2887),(2585,2867),(2590,2862),(2587.5,2852)],
  [(2630,2852),(2620,2862),(2620,2892),(2630,2902),(2641.5,2902),(2639,2892),(2635,2892),(2630,2887),(2630,2867),(2635,2862),(2632.5,2852)],
  [(12540,2852),(12530,2862),(12530,2892),(12540,2902),(12551.5,2902),(12549,2892),(12545,2892),(12540,2887),(12540,2867),(12545,2862),(12542.5,2852)],
  [(12585,2852),(12575,2862),(12575,2892),(12585,2902),(12596.5,2902),(12594,2892),(12590,2892),(12585,2887),(12585,2867),(12590,2862),(12587.5,2852)],
  [(12630,2852),(12620,2862),(12620,2892),(12630,2902),(12641.5,2902),(12639,2892),(12635,2892),(12630,2887),(12630,2867),(12635,2862),(12632.5,2852)],
  [(12540,2852),(12530,2862),(12530,2892),(12540,2902),(12551.5,2902),(12549,2892),(12545,2892),(12540,2887),(12540,2867),(12545,2862),(12542.5,2852)],
  [(12585,2852),(12575,2862),(12575,2892),(12585,2902),(12596.5,2902),(12594,2892),(12590,2892),(12585,2887),(12585,2867),(12590,2862),(12587.5,2852)],
  [(12630,2852),(12620,2862),(12620,2892),(12630,2902),(12641.5,2902),(12639,2892),(12635,2892),(12630,2887),(12630,2867),(12635,2862),(12632.5,2852)],
  [(2555,7850),(2545,7860),(2545,7890),(2555,7900),(2566.5,7900),(2564,7890),(2560,7890),(2555,7885),(2555,7865),(2560,7860),(2557.5,7850)],
  [(2600,7850),(2590,7860),(2590,7890),(2600,7900),(2611.5,7900),(2609,7890),(2605,7890),(2600,7885),(2600,7865),(2605,7860),(2602.5,7850)],
  [(2645,7850),(2635,7860),(2635,7890),(2645,7900),(2656.5,7900),(2654,7890),(2650,7890),(2645,7885),(2645,7865),(2650,7860),(2647.5,7850)],
  [(12555,7850),(12545,7860),(12545,7890),(12555,7900),(12566.5,7900),(12564,7890),(12560,7890),(12555,7885),(12555,7865),(12560,7860),(12557.5,7850)],
  [(12600,7850),(12590,7860),(12590,7890),(12600,7900),(12611.5,7900),(12609,7890),(12605,7890),(12600,7885),(12600,7865),(12605,7860),(12602.5,7850)],
  [(12645,7850),(12635,7860),(12635,7890),(12645,7900),(12656.5,7900),(12654,7890),(12650,7890),(12645,7885),(12645,7865),(12650,7860),(12647.5,7850)],
  [(2510,-150),(2505,-145),(2505,-135),(2515,-135),(2515,-140),(2530,-140),(2530,-130),(2510,-130),(2505,-125),(2505,-100),(2540,-100),(2540,-110),(2515,-110),(2515,-120),(2535,-120),(2540,-125),(2540,-145),(2535,-150)],
  [(2510,-150),(2505,-145),(2505,-135),(2515,-135),(2515,-140),(2530,-140),(2530,-130),(2510,-130),(2505,-125),(2505,-100),(2540,-100),(2540,-110),(2515,-110),(2515,-120),(2535,-120),(2540,-125),(2540,-145),(2535,-150)],
  [(12510,-150),(12505,-145),(12505,-135),(12515,-135),(12515,-140),(12530,-140),(12530,-130),(12510,-130),(12505,-125),(12505,-100),(12540,-100),(12540,-110),(12515,-110),(12515,-120),(12535,-120),(12540,-125),(12540,-145),(12535,-150)],
  [(12510,-150),(12505,-145),(12505,-135),(12515,-135),(12515,-140),(12530,-140),(12530,-130),(12510,-130),(12505,-125),(12505,-100),(12540,-100),(12540,-110),(12515,-110),(12515,-120),(12535,-120),(12540,-125),(12540,-145),(12535,-150)])

rectangle_s15000_10830__ = lib.new_cell('rectangle_S15000_10830__cd2686a7')
R(rectangle_s15000_10830__, N, [(0,0,15000,10830)])

unnamed_538 = lib.new_cell('Unnamed_538')
R(unnamed_538, WG, [(500,0,4498,498), (10500,0,14498,498), (0,4002,5000,5000), (10000,4002,15000,5000)])

unnamed_521 = lib.new_cell('Unnamed_521')
unnamed_521.add(gdstk.Reference(unnamed_551, (0,0)))
unnamed_521.add(gdstk.Reference(unnamed_549, (0,0)))
unnamed_521.add(gdstk.Reference(unnamed_547, (0,0)))
unnamed_521.add(gdstk.Reference(unnamed_542, (0,0)))
unnamed_521.add(gdstk.Reference(unnamed_542, (0,0)))
unnamed_521.add(gdstk.Reference(rectangle_s20000_15830__, (-2500,-2500)))
unnamed_521.add(gdstk.Reference(rectangle_s20000_15830__, (-2500,-2500)))
unnamed_521.add(gdstk.Reference(rectangle_s20000_15830__, (-2500,-2500)))
unnamed_521.add(gdstk.Reference(unnamed_539, (0,0)))
unnamed_521.add(gdstk.Reference(unnamed_545, (0,0)))
unnamed_521.add(gdstk.Reference(unnamed_546, (0,0)))
unnamed_521.add(gdstk.Reference(unnamed_532, (0,0)))
unnamed_521.add(gdstk.Reference(unnamed_532, (0,0)))
unnamed_521.add(gdstk.Reference(unnamed_532, (0,0)))
unnamed_521.add(gdstk.Reference(unnamed_528, (0,0)))
unnamed_521.add(gdstk.Reference(unnamed_540, (0,0)))
unnamed_521.add(gdstk.Reference(rectangle_s15000_10830__, (0,0)))
unnamed_521.add(gdstk.Reference(rectangle_s15000_10830__, (0,0)))
unnamed_521.add(gdstk.Reference(rectangle_s15000_10830__, (0,0)))
unnamed_521.add(gdstk.Reference(unnamed_538, (0,0)))

lib.write_gds('Unnamed_521.gds')
